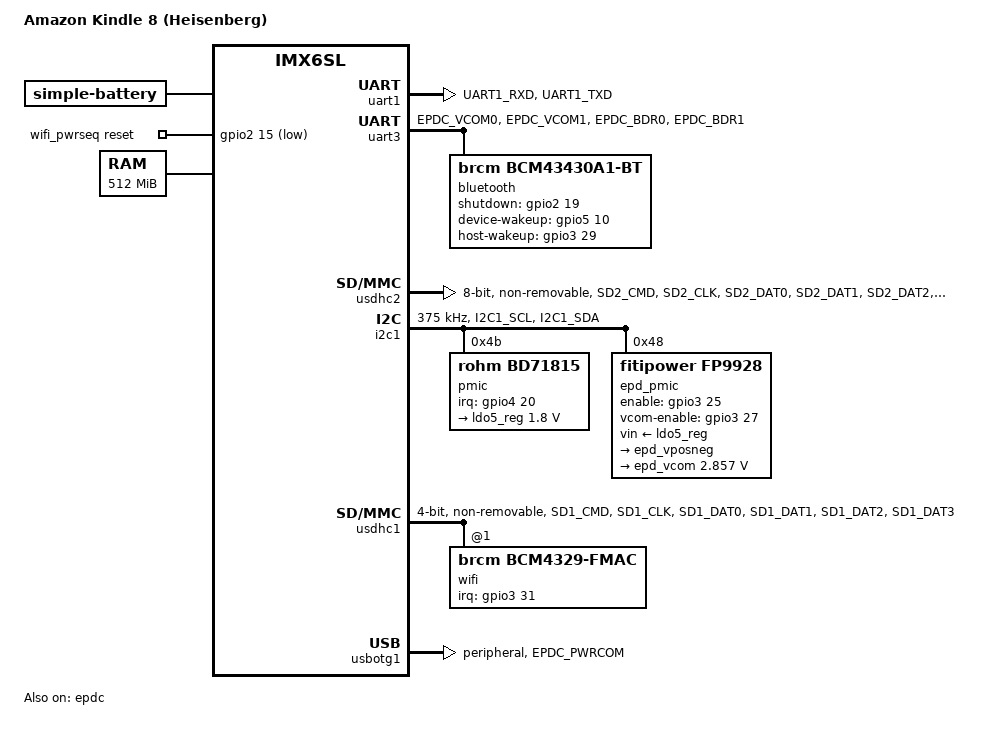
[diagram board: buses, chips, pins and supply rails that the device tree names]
// SPDX-License-Identifier: (GPL-2.0+ OR MIT)
/*
 * Amazon Kindle 8th gen (KT3, 2016), board "Heisenberg", platform "eanab".
 * Headless bring-up DTS for mainline Linux. Display (EPDC/FP9928) intentionally omitted.
 *
 * Derived from the stock 3.10.53-lab126 DTB (extracted/boot/stock.dts):
 *   UART1 0x02020000  console (ttymxc0)
 *   uSDHC2 0x02194000 eMMC, 8-bit  (stock alias mmc0 -> keep as mmcblk0)
 *   uSDHC1 0x02190000 BCM43430/4343W WiFi SDIO, 4-bit
 *   UART3 0x02034000  4343W Bluetooth HCI (RX/TX/RTS/CTS)
 *   I2C1  @0x4b ROHM BD71815 PMIC (IRQ gpio4 20), @0x48 FP9928 EPD PMIC
 *   I2C2  @0x50 zForce2 IR touch
 * Stock gpio phandles are 0-based; mainline labels are 1-based (stock gpio1 == &gpio2).
 *
 * Pad values keep bit 22 (LVE, 1.8 V low-voltage enable) exactly as the vendor DT set it.
 */

/dts-v1/;

#include <dt-bindings/gpio/gpio.h>
#include <dt-bindings/interrupt-controller/irq.h>
#include "imx6sl.dtsi"

/ {
	model = "Amazon Kindle 8 (Heisenberg)";
	compatible = "amazon,heisenberg", "fsl,imx6sl";

	aliases {
		mmc0 = &usdhc2;	/* eMMC  -> mmcblk0, same as stock */
		mmc1 = &usdhc1;	/* WiFi */
		serial0 = &uart1;
	};

	chosen {
		stdout-path = &uart1;
	};

	/*
	 * Kindle 8 Li-ion cell. OCV table is a generic LiCoO2/graphite curve (not measured on this cell),
	 * used by the patched bd71828-power driver for a voltage-based CAPACITY estimate.
	 */
	battery: battery {
		compatible = "simple-battery";
		device-chemistry = "lithium-ion";
		voltage-min-design-microvolt = <3400000>;
		voltage-max-design-microvolt = <4200000>;
		factory-internal-resistance-micro-ohms = <150000>;
		ocv-capacity-celsius = <20>;
		ocv-capacity-table-0 = <4185000 100>, <4113000 95>, <4066000 90>, <4022000 85>,
				       <3983000 80>, <3949000 75>, <3917000 70>, <3889000 65>,
				       <3864000 60>, <3835000 55>, <3815000 50>, <3801000 45>,
				       <3792000 40>, <3785000 35>, <3778000 30>, <3772000 25>,
				       <3764000 20>, <3753000 15>, <3741000 10>, <3712000 5>,
				       <3600000 0>;
	};

	/* BCM43430/4343W WiFi: WL_REG_ON is the module's power/reset; 32k sleep clock from the PMIC */
	wifi_pwrseq: wifi-pwrseq {
		compatible = "mmc-pwrseq-simple";
		pinctrl-names = "default";
		pinctrl-0 = <&pinctrl_wifi>;
		reset-gpios = <&gpio2 15 GPIO_ACTIVE_LOW>;	/* WL_REG_ON */
		clocks = <&pmic>;
		clock-names = "ext_clock";
		post-power-on-delay-ms = <80>;
		power-off-delay-us = <300>;
	};

	thermal-zones {
		/* panel temperature from the FP9928; read on demand by the EPDC, never polled */
		epd-thermal {
			polling-delay = <0>;
			polling-delay-passive = <0>;
			thermal-sensors = <&epd_pmic>;

			trips {
				epd_hot: epd-hot {
					temperature = <60000>;
					hysteresis = <2000>;
					type = "hot";		/* notification only, never a shutdown */
				};
			};
		};
	};

	memory@80000000 {
		device_type = "memory";
		reg = <0x80000000 0x20000000>;
	};
};

&iomuxc {
	pinctrl_uart1: uart1grp {
		fsl,pins = <
			MX6SL_PAD_UART1_RXD__UART1_RX_DATA          0x41b0b1	/* stock: 0x298 0x5a0 0x7fc 0x00 0x00 */
			MX6SL_PAD_UART1_TXD__UART1_TX_DATA          0x41b0b1	/* stock: 0x29c 0x5a4 0x000 0x00 0x00 */
		>;
	};

	pinctrl_usdhc2: usdhc2grp {
		fsl,pins = <
			MX6SL_PAD_SD2_CMD__SD2_CMD                  0x407059	/* stock: 0x258 0x560 0x000 0x00 0x00 */
			MX6SL_PAD_SD2_CLK__SD2_CLK                  0x400059	/* stock: 0x254 0x55c 0x000 0x00 0x00 */
			MX6SL_PAD_SD2_DAT0__SD2_DATA0               0x407059	/* stock: 0x25c 0x564 0x000 0x00 0x00 */
			MX6SL_PAD_SD2_DAT1__SD2_DATA1               0x407059	/* stock: 0x260 0x568 0x000 0x00 0x00 */
			MX6SL_PAD_SD2_DAT2__SD2_DATA2               0x407059	/* stock: 0x264 0x56c 0x000 0x00 0x00 */
			MX6SL_PAD_SD2_DAT3__SD2_DATA3               0x407059	/* stock: 0x268 0x570 0x000 0x00 0x00 */
			MX6SL_PAD_SD2_DAT4__SD2_DATA4               0x407059	/* stock: 0x26c 0x574 0x000 0x00 0x00 */
			MX6SL_PAD_SD2_DAT5__SD2_DATA5               0x407059	/* stock: 0x270 0x578 0x000 0x00 0x00 */
			MX6SL_PAD_SD2_DAT6__SD2_DATA6               0x407059	/* stock: 0x274 0x57c 0x000 0x00 0x00 */
			MX6SL_PAD_SD2_DAT7__SD2_DATA7               0x407059	/* stock: 0x278 0x580 0x000 0x00 0x00 */
			MX6SL_PAD_SD2_RST__SD2_RESET                0x407059	/* stock: 0x27c 0x584 0x000 0x00 0x00 */
		>;
	};

	pinctrl_i2c1: i2c1grp {
		fsl,pins = <
			MX6SL_PAD_I2C1_SCL__I2C1_SCL                0x404108b1	/* stock: 0x15c 0x44c 0x71c 0x00 0x02 */
			MX6SL_PAD_I2C1_SDA__I2C1_SDA                0x404108b1	/* stock: 0x160 0x450 0x720 0x00 0x02 */
		>;
	};

	pinctrl_uart3: uart3grp {
		fsl,pins = <
			MX6SL_PAD_EPDC_VCOM0__UART3_RX_DATA         0x41b0b1	/* stock uart3grp */
			MX6SL_PAD_EPDC_VCOM1__UART3_TX_DATA         0x4130b1
			MX6SL_PAD_EPDC_BDR0__UART3_RTS_B            0x41b0b1
			MX6SL_PAD_EPDC_BDR1__UART3_CTS_B            0x41b0b1
		>;
	};

	pinctrl_bt: btgrp {
		fsl,pins = <
			MX6SL_PAD_LCD_RESET__GPIO2_IO19             0x4000b0	/* BT_REG_ON, stock hoggrp */
			MX6SL_PAD_SD1_DAT7__GPIO5_IO10              0x4100b0	/* BT_DEV_WAKE, stock hoggrp */
			MX6SL_PAD_KEY_ROW2__GPIO3_IO29              0x4130b0	/* BT_HOST_WAKE, stock hoggrp */
		>;
	};

	pinctrl_wifi: wifigrp {
		fsl,pins = <
			MX6SL_PAD_LCD_CLK__GPIO2_IO15               0x4170b0	/* WL_REG_ON, stock hoggrp */
			MX6SL_PAD_KEY_ROW3__GPIO3_IO31              0x4130b0	/* WL_HOST_WAKE, stock hoggrp */
		>;
	};

	pinctrl_epdc: epdcgrp {
		fsl,pins = <
			MX6SL_PAD_EPDC_D0__EPDC_DATA00             0x4110a1
			MX6SL_PAD_EPDC_D1__EPDC_DATA01             0x4110a1
			MX6SL_PAD_EPDC_D2__EPDC_DATA02             0x4110a1
			MX6SL_PAD_EPDC_D3__EPDC_DATA03             0x4110a1
			MX6SL_PAD_EPDC_D4__EPDC_DATA04             0x4110a1
			MX6SL_PAD_EPDC_D5__EPDC_DATA05             0x4110a1
			MX6SL_PAD_EPDC_D6__EPDC_DATA06             0x4110a1
			MX6SL_PAD_EPDC_D7__EPDC_DATA07             0x4110a1
			MX6SL_PAD_EPDC_GDCLK__EPDC_GDCLK           0x4110a0
			MX6SL_PAD_EPDC_GDSP__EPDC_GDSP             0x4110a0
			MX6SL_PAD_EPDC_GDOE__EPDC_GDOE             0x4110a0
			MX6SL_PAD_EPDC_SDCLK__EPDC_SDCLK_P         0x4110a9
			MX6SL_PAD_EPDC_SDOE__EPDC_SDOE             0x4110a9
			MX6SL_PAD_EPDC_SDLE__EPDC_SDLE             0x4110a1
			MX6SL_PAD_EPDC_SDCE0__EPDC_SDCE0           0x4110a0
		>;
	};

	pinctrl_epdpmic: epdpmicgrp {
		fsl,pins = <
			MX6SL_PAD_KEY_ROW0__GPIO3_IO25              0x100b0	/* PM_EPD_EN, Amazon DTS value */
			MX6SL_PAD_KEY_ROW1__GPIO3_IO27              0x100b0	/* PM_EPD_ENOP */
		>;
	};

	pinctrl_pmic: pmicgrp {
		fsl,pins = <
			MX6SL_PAD_FEC_MDIO__GPIO4_IO20              0x4100b0	/* BD71815 INTB, stock hoggrp value */
		>;
	};

	pinctrl_usdhc1: usdhc1grp {
		fsl,pins = <
			MX6SL_PAD_SD1_CMD__SD1_CMD                  0x407059	/* stock: 0x230 0x538 0x000 0x00 0x00 */
			MX6SL_PAD_SD1_CLK__SD1_CLK                  0x4000d9	/* stock: 0x22c 0x534 0x000 0x00 0x00 */
			MX6SL_PAD_SD1_DAT0__SD1_DATA0               0x407059	/* stock: 0x234 0x53c 0x000 0x00 0x00 */
			MX6SL_PAD_SD1_DAT1__SD1_DATA1               0x407059	/* stock: 0x238 0x540 0x000 0x00 0x00 */
			MX6SL_PAD_SD1_DAT2__SD1_DATA2               0x407059	/* stock: 0x23c 0x544 0x000 0x00 0x00 */
			MX6SL_PAD_SD1_DAT3__SD1_DATA3               0x407059	/* stock: 0x240 0x548 0x000 0x00 0x00 */
		>;
	};

	pinctrl_usbotg1: usbotg1grp {
		fsl,pins = <
			MX6SL_PAD_EPDC_PWRCOM__USB_OTG1_ID          0x17059	/* stock: 0x0e0 0x3d0 0x5dc 0x04 0x00 */
		>;
	};
};

/*
 * Boot 001 hung right after L2C-310 enable. Stock 3.10 ran the PL310 with AUX_CTRL 0x32030000
 * (no early BRESP, no full-line-of-zeros); mainline turns both on for Cortex-A9. Match stock.
 */
&L2 {
	/*
	 * Match the stock 3.10 PL310 setup measured on-device (logs/regs-stock-vs-mainline.txt):
	 * AUX 0x32030000 (no early BRESP, no FLZ, no shared-override), latencies 0x132, POWER 0x3.
	 * Experiments A (power modes off) and B (shared-override) did not help.
	 */
	arm,early-bresp-disable;
	arm,full-line-zero-disable;
	/* PREFETCH_CTRL = 0x70800000 exactly as stock: dbl linefill + INCR, I+D prefetch, offset 0 */
	arm,double-linefill = <1>;
	arm,double-linefill-incr = <1>;
	arm,double-linefill-wrap = <0>;
	arm,prefetch-drop = <0>;
	arm,prefetch-offset = <0>;
	prefetch-data = <1>;
	prefetch-instr = <1>;
};

/*
 * EPDC driving the ED060SCSC1 (800x600) panel. Timing and EPDC parameters from the Lab126
 * driver (eanab_mode / panel_modes[], material V220); Kemnade's mxc-epdc DRM driver.
 */
&epdc {
	compatible = "fsl,imx6sl-epdc";
	clocks = <&clks IMX6SL_CLK_EPDC_AXI>, <&clks IMX6SL_CLK_EPDC_PIX>;
	clock-names = "epdc_axi", "epdc_pix";		/* names the driver requests */
	/* pix clock from the otherwise unused video PLL: 1010.52 MHz /4 (pll5_video_div) /10 = 25.263000 MHz,
	 * exactly the rate the driver asks for (the i.MX dividers round down) */
	assigned-clocks = <&clks IMX6SL_CLK_EPDC_PIX_SEL>, <&clks IMX6SL_CLK_PLL5_VIDEO>;
	assigned-clock-parents = <&clks IMX6SL_CLK_PLL5_VIDEO_DIV>;
	assigned-clock-rates = <0>, <1010520000>;
	pinctrl-names = "default";
	pinctrl-0 = <&pinctrl_epdc>;
	V3P3-supply = <&ldo5_reg>;
	VCOM-supply = <&epd_vcom>;
	DISPLAY-supply = <&epd_vposneg>;
	epd-thermal-zone = "epd-thermal";
	vscan-holdoff = <4>;
	sdoed-width = <10>;
	sdoed-delay = <20>;
	sdoez-width = <10>;
	sdoez-delay = <20>;
	gdclk-hp-offs = <392>;
	gdsp-offs = <297>;
	gdoe-offs = <0>;
	gdclk-offs = <51>;
	num-ce = <1>;
	status = "okay";

	timing {
		clock-frequency = <25263158>;	/* vendor fb_videomode.pixclock, used as Hz */
		hactive = <800>;
		hback-porch = <20>;
		hfront-porch = <57>;
		hsync-len = <12>;
		vactive = <600>;
		vback-porch = <4>;
		vfront-porch = <3>;
		vsync-len = <1>;
	};
};

&uart1 {
	pinctrl-names = "default";
	pinctrl-0 = <&pinctrl_uart1>;
	status = "okay";
};

/* BCM43430A1 Bluetooth (same 4343W module as WiFi) on UART3 with HW flow control */
&uart3 {
	pinctrl-names = "default";
	pinctrl-0 = <&pinctrl_uart3>;
	uart-has-rtscts;
	status = "okay";

	bluetooth {
		compatible = "brcm,bcm43430a1-bt";
		pinctrl-names = "default";
		pinctrl-0 = <&pinctrl_bt>;
		shutdown-gpios = <&gpio2 19 GPIO_ACTIVE_HIGH>;		/* BT_REG_ON */
		device-wakeup-gpios = <&gpio5 10 GPIO_ACTIVE_HIGH>;	/* BT_DEV_WAKE */
		host-wakeup-gpios = <&gpio3 29 GPIO_ACTIVE_HIGH>;	/* BT_HOST_WAKE; polarity sent to the chip by hci_bcm */
		/* Broadcom placeholder 43:43:A1:12:1F:AC is replaced by this (bytes little-endian) */
		local-bd-address = [30 00 00 38 4b 02];	/* 02:4B:38:00:00:30 */
		clocks = <&pmic>;
		clock-names = "lpo";
		max-speed = <3000000>;
	};
};

/* eMMC: Hynix H4G2a 3.64 GiB. Stock forced no UHS/1.8V switching; keep it simple at first. */
&usdhc2 {
	pinctrl-names = "default";
	pinctrl-0 = <&pinctrl_usdhc2>;
	bus-width = <8>;
	non-removable;
	no-1-8-v;
	keep-power-in-suspend;
	status = "okay";
};

/* --- Stage 2 (disabled for first boot) ------------------------------------ */

&i2c1 {
	pinctrl-names = "default";
	pinctrl-0 = <&pinctrl_i2c1>;
	clock-frequency = <375000>;	/* 0x5b8d8 in stock DT */
	status = "okay";

	/*
	 * ROHM BD71815 PMIC. Stage 1: core, RTC, GPO, 32k clock, charger/fuel gauge.
	 * The regulators node is intentionally EMPTY: without constraints the regulator core
	 * registers the outputs read-only and never changes or disables them (DDR/ARM/SOC supplies!).
	 */
	pmic: pmic@4b {
		compatible = "rohm,bd71815";
		reg = <0x4b>;
		pinctrl-names = "default";
		pinctrl-0 = <&pinctrl_pmic>;
		interrupt-parent = <&gpio4>;
		interrupts = <20 IRQ_TYPE_LEVEL_LOW>;
		system-power-controller;
		monitored-battery = <&battery>;
		clocks = <&clks 0>;		/* dummy, like imx6sll-kobo-clara2e */
		#clock-cells = <0>;
		clock-output-names = "bd71815-32k-out";
		gpio-controller;
		#gpio-cells = <2>;

		regulators {
			/* Only LDO5 is described: logic supply of the e-paper path ("ldo5-disp" in
			 * the vendor driver). Pinned to the 1.8 V U-Boot leaves and never switched off. */
			ldo5_reg: ldo5 {
				regulator-name = "ldo5-disp";
				regulator-min-microvolt = <1800000>;
				regulator-max-microvolt = <1800000>;
				regulator-always-on;
				regulator-boot-on;
			};
		};
	};

	/*
	 * FitiPower FP9928 EPD PMIC (register map and sequence from the Lab126 driver, see
	 * docs/display.md). Only reachable on I2C while PM_EPD_EN is high.
	 */
	epd_pmic: pmic@48 {
		compatible = "fitipower,fp9928";
		reg = <0x48>;
		pinctrl-names = "default";
		pinctrl-0 = <&pinctrl_epdpmic>;
		enable-gpios = <&gpio3 25 GPIO_ACTIVE_HIGH>;		/* PM_EPD_EN */
		vcom-enable-gpios = <&gpio3 27 GPIO_ACTIVE_HIGH>;	/* PM_EPD_ENOP */
		vin-supply = <&ldo5_reg>;
		#thermal-sensor-cells = <0>;

		regulators {
			epd_vposneg: vposneg {
				regulator-name = "epd-vposneg";
			};

			/* panel VCOM 2860 mV (idme) -> vendor steps 133 -> 64000 + 133 * 21000 uV */
			epd_vcom: vcom {
				regulator-name = "epd-vcom";
				regulator-min-microvolt = <2857000>;
				regulator-max-microvolt = <2857000>;
			};
		};
	};

};

&usdhc1 {
	pinctrl-names = "default";
	pinctrl-0 = <&pinctrl_usdhc1>;
	bus-width = <4>;
	non-removable;
	keep-power-in-suspend;
	no-1-8-v;			/* pads already run at 1.8 V (LVE); no UHS switching */
	max-frequency = <50000000>;
	mmc-pwrseq = <&wifi_pwrseq>;
	#address-cells = <1>;
	#size-cells = <0>;
	status = "okay";

	wifi: wifi@1 {
		compatible = "brcm,bcm4329-fmac";
		reg = <1>;
		/* out-of-band interrupt on WL_HOST_WAKE; brcmfmac programs the chip's pin polarity from these flags */
		interrupt-parent = <&gpio3>;
		interrupts = <31 IRQ_TYPE_LEVEL_HIGH>;
		interrupt-names = "host-wake";
	};
};

/* Micro-USB port: device mode only (g_ether built in -> usb0, CDC-ECM). VBUS comes from the PC. */
&usbotg1 {
	pinctrl-names = "default";
	pinctrl-0 = <&pinctrl_usbotg1>;
	disable-over-current;
	dr_mode = "peripheral";
	status = "okay";
};

/*
 * Default since 2026-11-01: 1104 MHz overclock (part is fused for 996 MHz). Passed a 10 min
 * stress-ng --verify run at 48 degC max; see docs/cpufreq.md. Remove this line to return to the rated 996 MHz.
 */
#include "overclock-1104.dtsi"
